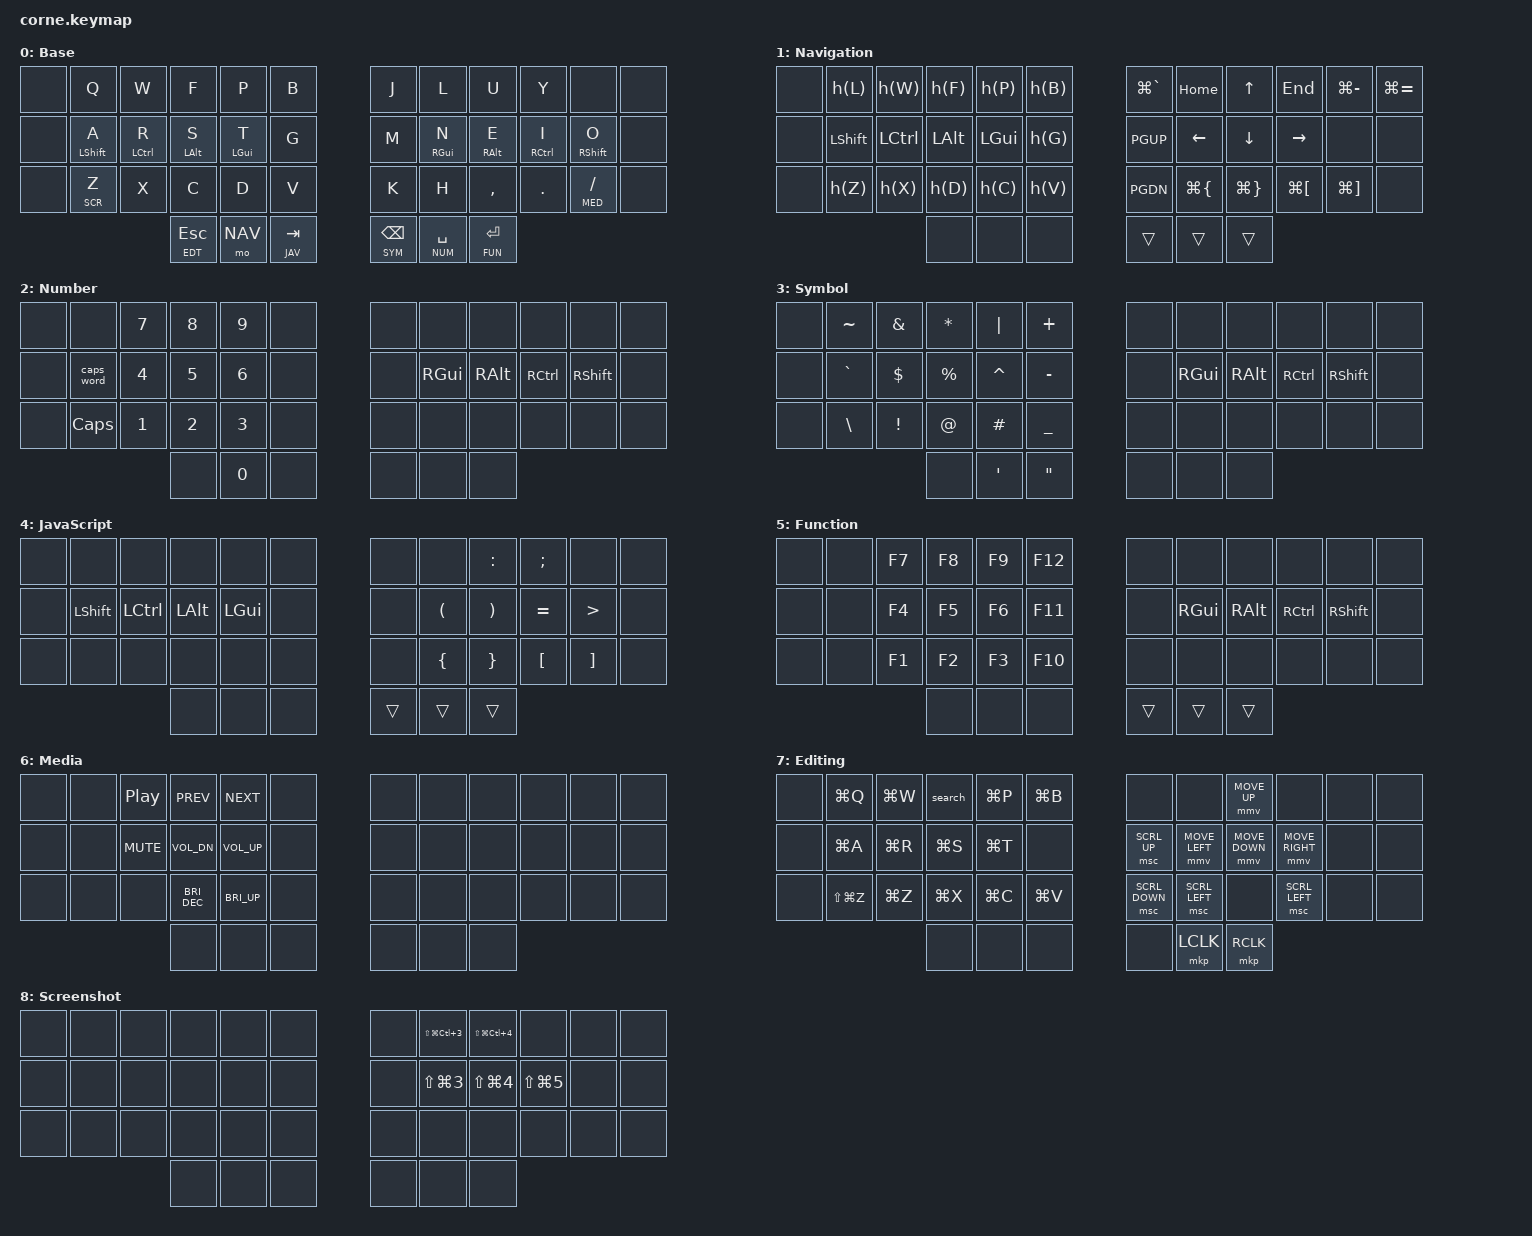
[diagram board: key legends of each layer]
#include <behaviors.dtsi>
#include <dt-bindings/zmk/keys.h>
#include <dt-bindings/zmk/bt.h>
#include <dt-bindings/zmk/pointing.h>

#define ZMK_POINTING_DEFAULT_MOVE_VAL 1500

#define BAS 0
#define NAV 1
#define NUM 2
#define SYM 3
#define JAV 4
#define FUN 5
#define MED 6
#define EDT 7
#define SCR 8

#define h(n)  LS(LC(LA(LG(n))))
#define g(n)  LG(n)

#define BACK  LG(LBRC)
#define FWRD  LG(RBRC)
#define PREV  LG(LBKT)
#define NEXT  LG(RBKT)
#define CYCLE LG(GRAVE)
#define ZIN   LG(EQUAL)
#define ZOUT  LG(MINUS)

#define FS_CB  LS(LG(LC(N3)))
#define SS_CB  LS(LG(LC(N4)))
#define FS_FL  LS(LG(N3))
#define SS_FL  LS(LG(N4))
#define SMENU  LS(LG(N5))


/ {
    behaviors {
         hm: home_row_mod {
              compatible = "zmk,behavior-hold-tap";
              #binding-cells = <2>;
              tapping-term-ms = <200>;
              quick-tap-ms = <0>;
              flavor = "tap-preferred";
              bindings = <&kp>, <&kp>;
         };

        search: search_macro {
            compatible = "zmk,behavior-macro";
            #binding-cells = <0>;
            bindings
                = <&macro_tap &kp ESC>
                , <&macro_wait_time 10>
                , <&macro_press &kp LCMD>
                , <&macro_tap &kp E>
                , <&macro_release &kp LCMD>;
        };
    };

    keymap {
        compatible = "zmk,keymap";

            BAS {
                display-name = "Base";
                bindings = <
// -------------|-------------|-------------|-------------|-------------|-------------|   |-------------|-------------|-------------|-------------|-------------|-------------|
       &none         &kp Q         &kp W         &kp F         &kp P         &kp B             &kp J         &kp L         &kp U         &kp Y         &none         &none
// -------------|-------------|-------------|-------------|-------------|-------------|   |-------------|-------------|-------------|-------------|-------------|-------------|
       &none      &hm LSHFT A   &hm LCTRL R    &hm LALT S    &hm LGUI T      &kp G             &kp M       &hm RGUI N    &hm RALT E   &hm RCTRL I   &hm RSHFT O      &none
// -------------|-------------|-------------|-------------|-------------|-------------|   |-------------|-------------|-------------|-------------|-------------|-------------|
       &none       &lt SCR Z       &kp X         &kp C         &kp D         &kp V             &kp K         &kp H       &kp COMMA      &kp DOT     &lt MED FSLH     &none
// -------------|-------------|-------------|-------------|-------------|-------------|   |-------------|-------------|-------------|-------------|-------------|-------------|
                                              &lt EDT ESC     &mo NAV     &lt JAV TAB       &lt SYM BSPC &lt NUM SPACE  &lt FUN RET                                        >;};
//                                          |-------------|-------------|-------------|   |-------------|-------------|-------------|

            NAV {
                display-name = "Navigation";
                bindings = <
// -------------|-------------|-------------|-------------|-------------|-------------|   |-------------|-------------|-------------|-------------|-------------|-------------|
       &none        &kp h(L)      &kp h(W)      &kp h(F)      &kp h(P)      &kp h(B)         &kp CYCLE      &kp HOME       &kp UP       &kp END       &kp ZOUT      &kp ZIN
// -------------|-------------|-------------|-------------|-------------|-------------|   |-------------|-------------|-------------|-------------|-------------|-------------|
       &none       &kp LSHFT     &kp LCTRL      &kp LALT      &kp LGUI      &kp h(G)          &kp PGUP      &kp LEFT      &kp DOWN     &kp RIGHT       &none         &none
// -------------|-------------|-------------|-------------|-------------|-------------|   |-------------|-------------|-------------|-------------|-------------|-------------|
       &none        &kp h(Z)      &kp h(X)      &kp h(D)      &kp h(C)      &kp h(V)          &kp PGDN      &kp BACK      &kp FWRD      &kp PREV      &kp NEXT       &none
// -------------|-------------|-------------|-------------|-------------|-------------|   |-------------|-------------|-------------|-------------|-------------|-------------|
                                                 &none         &none         &none             &trans        &trans        &trans                                          >;};
//                                          |-------------|-------------|-------------|   |-------------|-------------|-------------|

            NUM {
                display-name = "Number";
                bindings = <
// -------------|-------------|-------------|-------------|-------------|-------------|   |-------------|-------------|-------------|-------------|-------------|-------------|
       &none         &none         &kp N7        &kp N8        &kp N9        &none             &none         &none         &none         &none         &none         &none
// -------------|-------------|-------------|-------------|-------------|-------------|   |-------------|-------------|-------------|-------------|-------------|-------------|
       &none       &caps_word      &kp N4        &kp N5        &kp N6        &none             &none        &kp RGUI      &kp RALT     &kp RCTRL     &kp RSHFT       &none
// -------------|-------------|-------------|-------------|-------------|-------------|   |-------------|-------------|-------------|-------------|-------------|-------------|
       &none        &kp CAPS       &kp N1        &kp N2        &kp N3        &none             &none         &none         &none         &none         &none         &none
// -------------|-------------|-------------|-------------|-------------|-------------|   |-------------|-------------|-------------|-------------|-------------|-------------|
                                                 &none         &kp N0        &none             &none         &none         &none                                           >;};
//                                          |-------------|-------------|-------------|   |-------------|-------------|-------------|

            SYM {
                display-name = "Symbol";
                bindings = <
// -------------|-------------|-------------|-------------|-------------|-------------|   |-------------|-------------|-------------|-------------|-------------|-------------|
       &none       &kp TILDE      &kp AMPS      &kp STAR      &kp PIPE      &kp PLUS           &none         &none         &none         &none         &none         &none
// -------------|-------------|-------------|-------------|-------------|-------------|   |-------------|-------------|-------------|-------------|-------------|-------------|
       &none       &kp GRAVE      &kp DLLR     &kp PRCNT     &kp CARET     &kp MINUS           &none        &kp RGUI      &kp RALT     &kp RCTRL     &kp RSHFT       &none
// -------------|-------------|-------------|-------------|-------------|-------------|   |-------------|-------------|-------------|-------------|-------------|-------------|
       &none       &kp BSLH       &kp EXCL       &kp AT      &kp POUND     &kp UNDER           &none         &none         &none         &none         &none         &none
// -------------|-------------|-------------|-------------|-------------|-------------|   |-------------|-------------|-------------|-------------|-------------|-------------|
                                                 &none        &kp SQT       &kp DQT            &none         &none         &none                                           >;};
//                                          |-------------|-------------|-------------|   |-------------|-------------|-------------|

            JAV {
                display-name = "JavaScript";
                bindings = <
// -------------|-------------|-------------|-------------|-------------|-------------|   |-------------|-------------|-------------|-------------|-------------|-------------|
       &none         &none         &none         &none         &none         &none             &none         &none       &kp COLON      &kp SEMI       &none         &none
// -------------|-------------|-------------|-------------|-------------|-------------|   |-------------|-------------|-------------|-------------|-------------|-------------|
       &none       &kp LSHFT     &kp LCTRL      &kp LALT      &kp LGUI       &none             &none        &kp LPAR      &kp RPAR     &kp EQUAL       &kp GT        &none
// -------------|-------------|-------------|-------------|-------------|-------------|   |-------------|-------------|-------------|-------------|-------------|-------------|
       &none         &none         &none         &none         &none         &none             &none        &kp LBRC      &kp RBRC      &kp LBKT      &kp RBKT       &none
// -------------|-------------|-------------|-------------|-------------|-------------|   |-------------|-------------|-------------|-------------|-------------|-------------|
                                                 &none         &none         &none             &trans        &trans        &trans                                          >;};
//                                          |-------------|-------------|-------------|   |-------------|-------------|-------------|

            FUN {
                display-name = "Function";
                bindings = <
// -------------|-------------|-------------|-------------|-------------|-------------|   |-------------|-------------|-------------|-------------|-------------|-------------|
       &none         &none         &kp F7        &kp F8        &kp F9       &kp F12            &none         &none         &none         &none         &none         &none
// -------------|-------------|-------------|-------------|-------------|-------------|   |-------------|-------------|-------------|-------------|-------------|-------------|
       &none         &none         &kp F4        &kp F5        &kp F6       &kp F11            &none        &kp RGUI      &kp RALT     &kp RCTRL     &kp RSHFT       &none
// -------------|-------------|-------------|-------------|-------------|-------------|   |-------------|-------------|-------------|-------------|-------------|-------------|
       &none         &none         &kp F1        &kp F2        &kp F3       &kp F10            &none         &none         &none         &none         &none         &none
// -------------|-------------|-------------|-------------|-------------|-------------|   |-------------|-------------|-------------|-------------|-------------|-------------|
                                                 &none         &none         &none             &trans        &trans        &trans                                          >;};
//                                          |-------------|-------------|-------------|   |-------------|-------------|-------------|

            MED {
                display-name = "Media";
                bindings = <
// -------------|-------------|-------------|-------------|-------------|-------------|   |-------------|-------------|-------------|-------------|-------------|-------------|
       &none         &none        &kp C_PP     &kp C_PREV    &kp C_NEXT      &none             &none         &none         &none         &none         &none         &none
// -------------|-------------|-------------|-------------|-------------|-------------|   |-------------|-------------|-------------|-------------|-------------|-------------|
       &none         &none       &kp C_MUTE   &kp C_VOL_DN  &kp C_VOL_UP     &none             &none         &none         &none         &none         &none         &none
// -------------|-------------|-------------|-------------|-------------|-------------|   |-------------|-------------|-------------|-------------|-------------|-------------|
       &none         &none         &none     &kp C_BRI_DEC  &kp C_BRI_UP     &none             &none         &none         &none         &none         &none         &none
// -------------|-------------|-------------|-------------|-------------|-------------|   |-------------|-------------|-------------|-------------|-------------|-------------|
                                                 &none         &none         &none             &none         &none         &none                                           >;};
//                                          |-------------|-------------|-------------|   |-------------|-------------|-------------|

            EDT {
                display-name = "Editing";
                bindings = <
// -------------|-------------|-------------|-------------|-------------|-------------|   |-------------|-------------|-------------|-------------|-------------|-------------|
       &none       &kp LG(Q)     &kp LG(W)      &search      &kp LG(P)     &kp LG(B)           &none         &none      &mmv MOVE_UP     &none         &none         &none
// -------------|-------------|-------------|-------------|-------------|-------------|   |-------------|-------------|-------------|-------------|-------------|-------------|
       &none       &kp LG(A)     &kp LG(R)     &kp LG(S)     &kp LG(T)       &none           &msc SCRL_UP &mmv MOVE_LEFT &mmv MOVE_DOWN &mmv MOVE_RIGHT &none         &none
// -------------|-------------|-------------|-------------|-------------|-------------|   |-------------|-------------|-------------|-------------|-------------|-------------|
       &none     &kp LS(LG(Z))   &kp LG(Z)     &kp LG(X)     &kp LG(C)     &kp LG(V)        &msc SCRL_DOWN &msc SCRL_LEFT  &none     &msc SCRL_LEFT    &none         &none
// -------------|-------------|-------------|-------------|-------------|-------------|   |-------------|-------------|-------------|-------------|-------------|-------------|
                                                 &none         &none         &none             &none       &mkp LCLK     &mkp RCLK                                        >;};
//                                          |-------------|-------------|-------------|   |-------------|-------------|-------------|

            SCR {
            display-name = "Screenshot";
                bindings = <
// -------------|-------------|-------------|-------------|-------------|-------------|   |-------------|-------------|-------------|-------------|-------------|-------------|
       &none         &none         &none         &none         &none         &none             &none       &kp FS_CB     &kp SS_CB       &none         &none         &none
// -------------|-------------|-------------|-------------|-------------|-------------|   |-------------|-------------|-------------|-------------|-------------|-------------|
       &none         &none         &none         &none         &none         &none             &none       &kp FS_FL     &kp SS_FL     &kp SMENU       &none         &none
// -------------|-------------|-------------|-------------|-------------|-------------|   |-------------|-------------|-------------|-------------|-------------|-------------|
       &none         &none         &none         &none         &none         &none             &none         &none         &none         &none         &none         &none
// -------------|-------------|-------------|-------------|-------------|-------------|   |-------------|-------------|-------------|-------------|-------------|-------------|
                                                 &none         &none         &none             &none         &none         &none                                           >;};
//                                          |-------------|-------------|-------------|   |-------------|-------------|-------------|

    };
};
